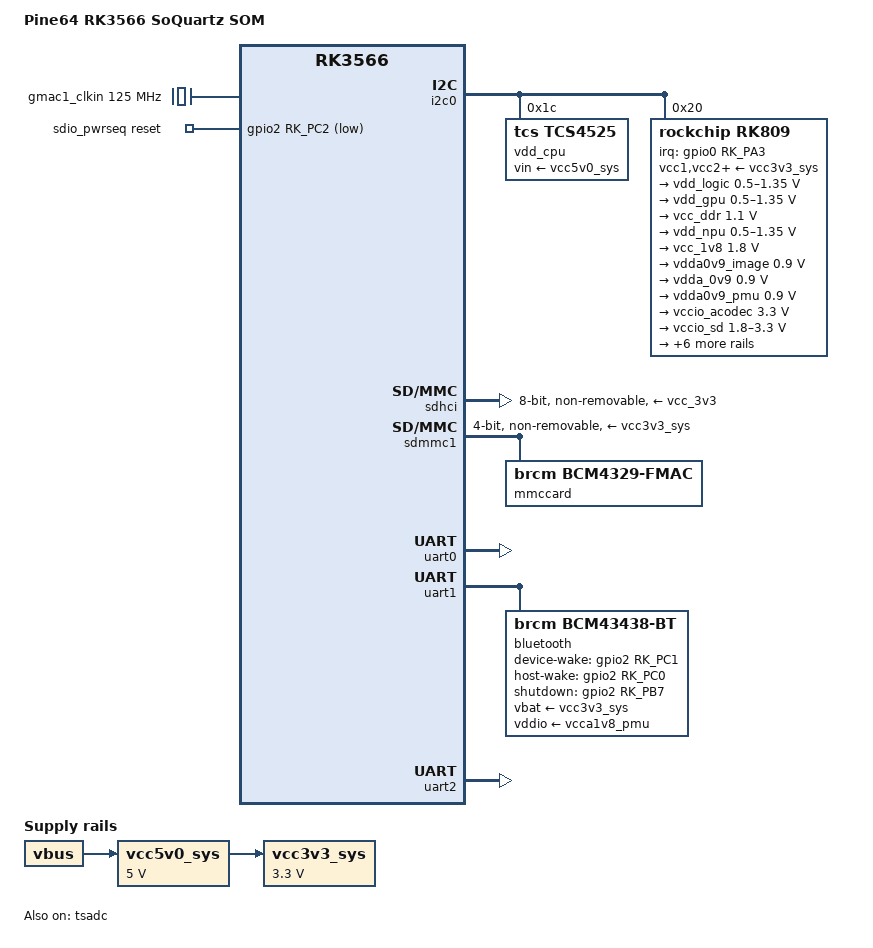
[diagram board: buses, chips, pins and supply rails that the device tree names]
// SPDX-License-Identifier: (GPL-2.0+ OR MIT)

/dts-v1/;

#include <dt-bindings/gpio/gpio.h>
#include <dt-bindings/pinctrl/rockchip.h>
#include "rk3566.dtsi"

/ {
	model = "Pine64 RK3566 SoQuartz SOM";
	compatible = "pine64,soquartz", "rockchip,rk3566";

	aliases {
		mmc0 = &sdmmc0;
		mmc1 = &sdhci;
		mmc2 = &sdmmc1;
	};

	chosen: chosen {
		stdout-path = "serial2:1500000n8";
	};

	gmac1_clkin: external-gmac1-clock {
		compatible = "fixed-clock";
		clock-frequency = <125000000>;
		clock-output-names = "gmac1_clkin";
		#clock-cells = <0>;
	};

	leds {
		compatible = "gpio-leds";

		led_diy: led-diy {
			label = "diy-led";
			default-state = "on";
			gpios = <&gpio0 RK_PC1 GPIO_ACTIVE_HIGH>;
			linux,default-trigger = "heartbeat";
			pinctrl-names = "default";
			pinctrl-0 = <&diy_led_enable_h>;
			retain-state-suspended;
			status = "disabled";
		};

		led_work: led-work {
			label = "work-led";
			default-state = "off";
			gpios = <&gpio0 RK_PC0 GPIO_ACTIVE_HIGH>;
			pinctrl-names = "default";
			pinctrl-0 = <&work_led_enable_h>;
			retain-state-suspended;
			status = "disabled";
		};
	};

	sdio_pwrseq: sdio-pwrseq {
		status = "okay";
		compatible = "mmc-pwrseq-simple";
		clocks = <&rk809 1>;
		clock-names = "ext_clock";
		pinctrl-names = "default";
		pinctrl-0 = <&wifi_enable_h>;
		reset-gpios = <&gpio2 RK_PC2 GPIO_ACTIVE_LOW>;
	};

	/* sourced from vbus, vbus is provided by the carrier board */
	vcc5v0_sys: vcc5v0_sys {
		compatible = "regulator-fixed";
		regulator-name = "vcc5v0_sys";
		regulator-always-on;
		regulator-boot-on;
		regulator-min-microvolt = <5000000>;
		regulator-max-microvolt = <5000000>;
		vin-supply = <&vbus>;
	};

	vcc3v3_sys: vcc3v3_sys {
		compatible = "regulator-fixed";
		regulator-name = "vcc3v3_sys";
		regulator-always-on;
		regulator-boot-on;
		regulator-min-microvolt = <3300000>;
		regulator-max-microvolt = <3300000>;
		vin-supply = <&vcc5v0_sys>;
	};

	sdmmc_pwr: sdmmc_pwr {
		compatible = "regulator-fixed";
		enable-active-high;
		gpio = <&gpio0 RK_PA5 GPIO_ACTIVE_HIGH>;
		pinctrl-names = "default";
		pinctrl-0 = <&sdmmc_pwr_h>;
		regulator-name = "sdmmc_pwr";
		status = "disabled";
	};
};

&combphy2 {
	status = "disabled";
};

&cpu0 {
	cpu-supply = <&vdd_cpu>;
};

&cpu1 {
	cpu-supply = <&vdd_cpu>;
};

&cpu2 {
	cpu-supply = <&vdd_cpu>;
};

&cpu3 {
	cpu-supply = <&vdd_cpu>;
};

&gmac1 {
	assigned-clocks = <&cru SCLK_GMAC1_RX_TX>, <&cru SCLK_GMAC1_RGMII_SPEED>, <&cru SCLK_GMAC1>;
	assigned-clock-parents = <&cru SCLK_GMAC1_RGMII_SPEED>, <&cru SCLK_GMAC1>, <&gmac1_clkin>;
	clock_in_out = "input";
	phy-supply = <&vcc_3v3>;
	phy-mode = "rgmii";
	pinctrl-names = "default";
	pinctrl-0 = <&gmac1m0_miim
		     &gmac1m0_tx_bus2
		     &gmac1m0_rx_bus2
		     &gmac1m0_rgmii_clk
		     &gmac1m0_clkinout
		     &gmac1m0_rgmii_bus>;
	snps,reset-gpio = <&gpio0 RK_PC3 GPIO_ACTIVE_LOW>;
	snps,reset-active-low;
	/* Reset time is 20ms, 100ms for rtl8211f */
	snps,reset-delays-us = <0 20000 100000>;
	tx_delay = <0x30>;
	rx_delay = <0x10>;
	phy-handle = <&rgmii_phy1>;
	status = "disabled";
};

&i2c0 {
	status = "okay";

	vdd_cpu: regulator@1c {
		compatible = "tcs,tcs4525";
		reg = <0x1c>;
		fcs,suspend-voltage-selector = <1>;
		regulator-name = "vdd_cpu";
		regulator-min-microvolt = <800000>;
		regulator-max-microvolt = <1150000>;
		regulator-ramp-delay = <2300>;
		regulator-always-on;
		regulator-boot-on;
		vin-supply = <&vcc5v0_sys>;

		regulator-state-mem {
			regulator-off-in-suspend;
		};
	};

	rk809: pmic@20 {
		compatible = "rockchip,rk809";
		reg = <0x20>;
		interrupt-parent = <&gpio0>;
		interrupts = <RK_PA3 IRQ_TYPE_LEVEL_LOW>;
		#clock-cells = <1>;
		clock-output-names = "rk808-clkout1", "rk808-clkout2";
		pinctrl-names = "default";
		pinctrl-0 = <&pmic_int_l>;
		rockchip,system-power-controller;
		wakeup-source;

		vcc1-supply = <&vcc3v3_sys>;
		vcc2-supply = <&vcc3v3_sys>;
		vcc3-supply = <&vcc3v3_sys>;
		vcc4-supply = <&vcc3v3_sys>;
		vcc5-supply = <&vcc3v3_sys>;
		vcc6-supply = <&vcc3v3_sys>;
		vcc7-supply = <&vcc3v3_sys>;
		vcc8-supply = <&vcc3v3_sys>;
		vcc9-supply = <&vcc3v3_sys>;

		regulators {
			vdd_logic: DCDC_REG1 {
				regulator-name = "vdd_logic";
				regulator-always-on;
				regulator-boot-on;
				regulator-min-microvolt = <500000>;
				regulator-max-microvolt = <1350000>;
				regulator-init-microvolt = <900000>;
				regulator-ramp-delay = <6001>;
				regulator-initial-mode = <0x2>;
				regulator-state-mem {
					regulator-on-in-suspend;
					regulator-suspend-microvolt = <900000>;
				};
			};

			vdd_gpu: DCDC_REG2 {
				regulator-name = "vdd_gpu";
				regulator-always-on;
				regulator-boot-on;
				regulator-min-microvolt = <500000>;
				regulator-max-microvolt = <1350000>;
				regulator-init-microvolt = <900000>;
				regulator-ramp-delay = <6001>;
				regulator-initial-mode = <0x2>;
					regulator-state-mem {
					regulator-off-in-suspend;
				};
			};

			vcc_ddr: DCDC_REG3 {
				regulator-always-on;
				regulator-boot-on;
				regulator-min-microvolt = <1100000>;
				regulator-max-microvolt = <1100000>;
				regulator-initial-mode = <0x2>;
				regulator-name = "vcc_ddr";
				regulator-state-mem {
					regulator-on-in-suspend;
				};
			};

			vdd_npu: DCDC_REG4 {
				regulator-always-on;
				regulator-boot-on;
				regulator-min-microvolt = <500000>;
				regulator-max-microvolt = <1350000>;
				regulator-init-microvolt = <900000>;
				regulator-initial-mode = <0x2>;
				regulator-name = "vdd_npu";
				regulator-state-mem {
					regulator-off-in-suspend;
				};
			};

			vcc_1v8: DCDC_REG5 {
				regulator-name = "vcc_1v8";
				regulator-always-on;
				regulator-boot-on;
				regulator-min-microvolt = <1800000>;
				regulator-max-microvolt = <1800000>;
				regulator-state-mem {
					regulator-on-in-suspend;
					regulator-suspend-microvolt = <1800000>;
				};
			};

			vdda0v9_image: LDO_REG1 {
				regulator-always-on;
				regulator-boot-on;
				regulator-min-microvolt = <900000>;
				regulator-max-microvolt = <900000>;
				regulator-name = "vdda0v9_image";
				regulator-state-mem {
					regulator-on-in-suspend;
					regulator-suspend-microvolt = <900000>;
				};
			};

			vdda_0v9: LDO_REG2 {
				regulator-always-on;
				regulator-boot-on;
				regulator-min-microvolt = <900000>;
				regulator-max-microvolt = <900000>;
				regulator-name = "vdda_0v9";
				regulator-state-mem {
					regulator-off-in-suspend;
				};
			};

			vdda0v9_pmu: LDO_REG3 {
				regulator-always-on;
				regulator-boot-on;
				regulator-min-microvolt = <900000>;
				regulator-max-microvolt = <900000>;
				regulator-name = "vdda0v9_pmu";
				regulator-state-mem {
					regulator-on-in-suspend;
					regulator-suspend-microvolt = <900000>;
				};
			};

			vccio_acodec: LDO_REG4 {
				regulator-always-on;
				regulator-boot-on;
				regulator-min-microvolt = <3300000>;
				regulator-max-microvolt = <3300000>;
				regulator-name = "vccio_acodec";
				regulator-state-mem {
					regulator-off-in-suspend;
				};
			};

			vccio_sd: LDO_REG5 {
				regulator-always-on;
				regulator-boot-on;
				regulator-min-microvolt = <1800000>;
				regulator-max-microvolt = <3300000>;
				regulator-name = "vccio_sd";
				regulator-state-mem {
					regulator-off-in-suspend;
				};
			};

			vcc3v3_pmu: LDO_REG6 {
				regulator-always-on;
				regulator-boot-on;
				regulator-min-microvolt = <3300000>;
				regulator-max-microvolt = <3300000>;
				regulator-name = "vcc3v3_pmu";
				regulator-state-mem {
					regulator-on-in-suspend;
					regulator-suspend-microvolt = <3300000>;
				};
			};

			vcca_1v8: LDO_REG7 {
				regulator-always-on;
				regulator-boot-on;
				regulator-min-microvolt = <1800000>;
				regulator-max-microvolt = <1800000>;
				regulator-name = "vcca_1v8";
				regulator-state-mem {
					regulator-off-in-suspend;
				};
			};

			vcca1v8_pmu: LDO_REG8 {
				regulator-always-on;
				regulator-boot-on;
				regulator-min-microvolt = <1800000>;
				regulator-max-microvolt = <1800000>;
				regulator-name = "vcca1v8_pmu";
				regulator-state-mem {
					regulator-off-in-suspend;
				};
			};

			vcca1v8_image: LDO_REG9 {
				regulator-always-on;
				regulator-boot-on;
				regulator-min-microvolt = <1800000>;
				regulator-max-microvolt = <1800000>;
				regulator-name = "vcca1v8_image";
				regulator-state-mem {
					regulator-off-in-suspend;
				};
			};

			vcc_3v3: SWITCH_REG1 {
				regulator-name = "vcc_3v3";
				regulator-always-on;
				regulator-boot-on;
				regulator-min-microvolt = <3300000>;
				regulator-max-microvolt = <3300000>;
				regulator-state-mem {
					regulator-off-in-suspend;
				};
			};

			vcc3v3_sd: SWITCH_REG2 {
				regulator-name = "vcc3v3_sd";
				regulator-min-microvolt = <3300000>;
				regulator-max-microvolt = <3300000>;
				status = "disabled";
				regulator-state-mem {
					regulator-on-in-suspend;
					regulator-suspend-microvolt = <3300000>;
				};
			};

		};
	};
};

/* i2c1 provides SCL/SDA pins 80/82 */
&i2c1 {
	status = "disabled";
};

&mdio1 {
	rgmii_phy1: ethernet-phy@0 {
		compatible = "ethernet-phy-ieee802.3-c22";
		reg = <0>;
		status = "disabled";
	};
};

&pcie2x1 {
	reset-gpios = <&gpio1 RK_PB2 GPIO_ACTIVE_HIGH>;
	status = "disabled";
};

&pinctrl {
	bt {
		bt_enable_h: bt-enable-h {
			rockchip,pins = <2 RK_PB7 RK_FUNC_GPIO &pcfg_pull_none>;
		};

		bt_host_wake_l: bt-host-wake-l {
			rockchip,pins = <2 RK_PC0 RK_FUNC_GPIO &pcfg_pull_down>;
		};

		bt_wake_l: bt-wake-l {
			rockchip,pins = <2 RK_PC1 RK_FUNC_GPIO &pcfg_pull_none>;
		};
	};

	leds {
		work_led_enable_h: work-led-enable-h {
			rockchip,pins = <0 RK_PC0 RK_FUNC_GPIO &pcfg_pull_none>;
		};

		diy_led_enable_h: diy-led-enable-h {
			rockchip,pins = <0 RK_PC1 RK_FUNC_GPIO &pcfg_pull_none>;
		};
	};

	pcie {
		pcie_enable_h: pcie-enable-h {
			rockchip,pins = <0 RK_PC6 RK_FUNC_GPIO &pcfg_pull_none>;
		};

		pcie_reset_h: pcie-reset-h {
			rockchip,pins = <1 RK_PB2 RK_FUNC_GPIO &pcfg_pull_none>;
		};
	};

	pmic {
		pmic_int_l: pmic-int-l {
			rockchip,pins = <0 RK_PA3 RK_FUNC_GPIO &pcfg_pull_up>;
		};
	};

	sdio-pwrseq {
		wifi_enable_h: wifi-enable-h {
			rockchip,pins = <2 RK_PC2 RK_FUNC_GPIO &pcfg_pull_none>;
		};
	};

	sdmmc_pwr {
		sdmmc_pwr_h: sdmmc-pwr-h {
			rockchip,pins = <0 RK_PA5 RK_FUNC_GPIO &pcfg_pull_none>;
		};
	};
};

&pmu_io_domains {
	pmuio1-supply = <&vcc3v3_pmu>;
	pmuio2-supply = <&vcc3v3_pmu>;
	vccio1-supply = <&vcc_3v3>;
	vccio2-supply = <&vcc_1v8>;
	vccio3-supply = <&vccio_sd>;
	vccio4-supply = <&vcc_1v8>;
	vccio5-supply = <&vcc_3v3>;
	vccio6-supply = <&vcc_3v3>;
	vccio7-supply = <&vcc_3v3>;
	status = "okay";
};

&sdhci {
	bus-width = <8>;
	mmc-hs200-1_8v;
	non-removable;
	vmmc-supply = <&vcc_3v3>;
	vqmmc-supply = <&vcc_1v8>;
	status = "okay";
};

&sdmmc0 {
	broken-cd;
	bus-width = <4>;
	cap-sd-highspeed;
	disable-wp;
	pinctrl-names = "default";
	pinctrl-0 = <&sdmmc0_bus4 &sdmmc0_clk &sdmmc0_cmd &sdmmc0_det>;
	vqmmc-supply = <&vccio_sd>;
	status = "disabled";
};

&sdmmc1 {
	bus-width = <4>;
	cap-sd-highspeed;
	cap-sdio-irq;
	disable-wp;
	keep-power-in-suspend;
	mmc-pwrseq = <&sdio_pwrseq>;
	non-removable;
	pinctrl-names = "default";
	pinctrl-0 = <&sdmmc1_bus4 &sdmmc1_cmd &sdmmc1_clk>;
	sd-uhs-sdr104;
	vmmc-supply = <&vcc3v3_sys>;
	vqmmc-supply = <&vcc_1v8>;
	status = "okay";

	mmccard: mmccard {
		compatible = "brcm,bcm4329-fmac";
	};
};

&tsadc {
	status = "okay";
};

&uart0 {
	pinctrl-names = "default";
	pinctrl-0 = <&uart0_xfer>;
	status = "okay";
};

&uart1 {
	pinctrl-names = "default";
	pinctrl-0 = <&uart1m0_xfer &uart1m0_ctsn>;
	status = "okay";
	uart-has-rtscts;

	bluetooth {
		compatible = "brcm,bcm43438-bt";
		clocks = <&rk809 1>;
		clock-names = "lpo";
		device-wake-gpios = <&gpio2 RK_PC1 GPIO_ACTIVE_HIGH>;
		host-wake-gpios = <&gpio2 RK_PC0 GPIO_ACTIVE_HIGH>;
		shutdown-gpios = <&gpio2 RK_PB7 GPIO_ACTIVE_HIGH>;
		pinctrl-names = "default";
		pinctrl-0 = <&bt_host_wake_l &bt_wake_l &bt_enable_h>;
		vbat-supply = <&vcc3v3_sys>;
		vddio-supply = <&vcca1v8_pmu>;
        };
};

&uart2 {
	status = "okay";
};

/* dwc3_otg is the only usb port available */
&u2phy0 {
	status = "disabled";
};

&u2phy0_otg {
	status = "disabled";
};

&usbdrd_dwc3 {
	status = "disabled";
};

&usbdrd30 {
	status = "disabled";
};
